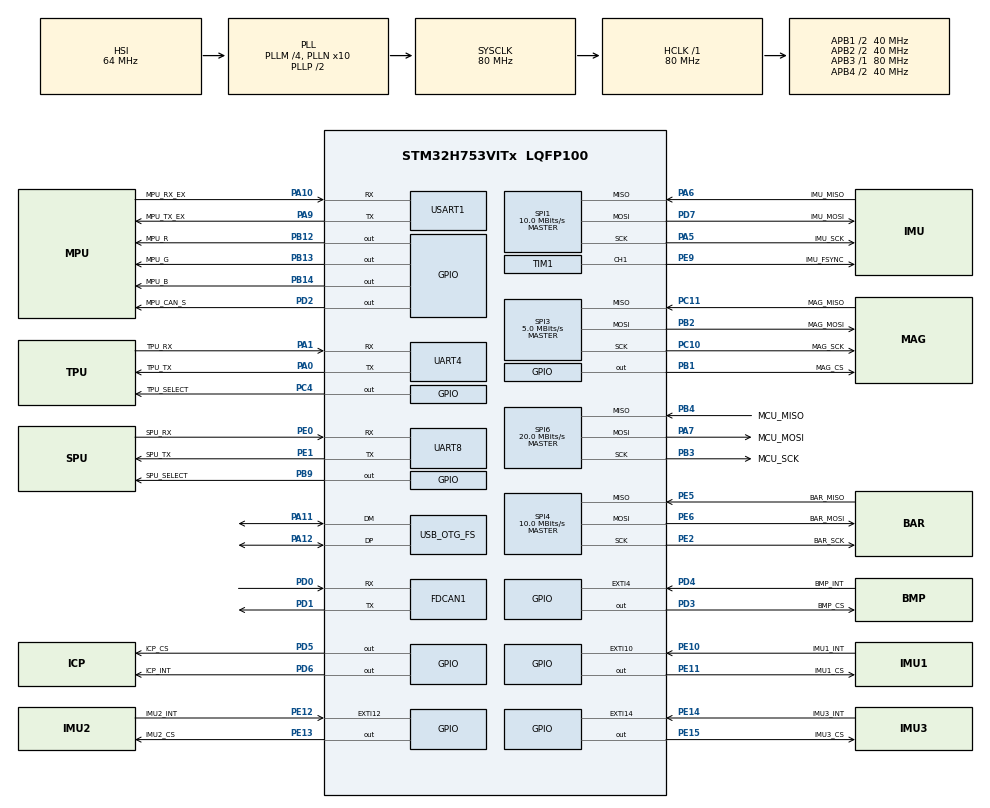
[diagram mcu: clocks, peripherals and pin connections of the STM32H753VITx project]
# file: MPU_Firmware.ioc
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CORTEX_M7.default_mode_Activation=1
FDCAN1.CalculateBaudRateNominal=833333
FDCAN1.CalculateTimeBitNominal=1200
FDCAN1.CalculateTimeQuantumNominal=400.0
FDCAN1.TxBuffersNbr=32
Mcu.Family=STM32H7
Mcu.Name=STM32H753VITx
Mcu.Package=LQFP100
NVIC.OTG_FS_IRQn=true\:0\:0\:false\:false\:true\:false\:true\:true
NVIC.PriorityGroup=NVIC_PRIORITYGROUP_4
NVIC.UART4_IRQn=true\:5\:0\:false\:false\:true\:true\:true\:true
NVIC.UART8_IRQn=true\:5\:0\:false\:false\:true\:true\:true\:true
PA0.GPIO_Label=TPU_TX
PA0.Mode=Asynchronous
PA0.Signal=UART4_TX
PA1.GPIO_Label=TPU_RX
PA1.Mode=Asynchronous
PA1.PinAttribute=Free
PA1.Signal=UART4_RX
PA10.GPIO_Label=MPU_RX_EX
PA10.Mode=Asynchronous
PA10.Signal=USART1_RX
PA11.Mode=Device_Only
PA11.PinAttribute=Free
PA11.Signal=USB_OTG_FS_DM
PA12.Mode=Device_Only
PA12.Signal=USB_OTG_FS_DP
PA5.GPIO_Label=IMU_SCK
PA5.Mode=Full_Duplex_Master
PA5.PinAttribute=Free
PA5.Signal=SPI1_SCK
PA6.GPIO_Label=IMU_MISO
PA6.Mode=Full_Duplex_Master
PA6.PinAttribute=Free
PA6.Signal=SPI1_MISO
PA7.GPIO_Label=MCU_MOSI
PA7.Mode=Full_Duplex_Master
PA7.PinAttribute=Free
PA7.Signal=SPI6_MOSI
PA9.GPIO_Label=MPU_TX_EX
PA9.Mode=Asynchronous
PA9.Signal=USART1_TX
PB1.GPIO_Label=MAG_CS
PB1.GPIO_Speed=GPIO_SPEED_FREQ_LOW
PB1.PinState=GPIO_PIN_SET
PB1.Signal=GPIO_Output
PB12.GPIO_Label=MPU_R
PB12.GPIO_ModeDefaultOutputPP=GPIO_MODE_OUTPUT_PP
PB12.GPIO_PuPd=GPIO_NOPULL
PB12.PinAttribute=Free
PB12.PinState=GPIO_PIN_RESET
PB12.Signal=GPIO_Output
PB13.GPIO_Label=MPU_G
PB13.GPIO_ModeDefaultOutputPP=GPIO_MODE_OUTPUT_PP
PB13.GPIO_PuPd=GPIO_NOPULL
PB13.PinAttribute=Free
PB13.PinState=GPIO_PIN_RESET
PB13.Signal=GPIO_Output
PB14.GPIO_Label=MPU_B
PB14.GPIO_ModeDefaultOutputPP=GPIO_MODE_OUTPUT_PP
PB14.GPIO_PuPd=GPIO_NOPULL
PB14.PinAttribute=Free
PB14.PinState=GPIO_PIN_RESET
PB14.Signal=GPIO_Output
PB2.GPIO_Label=MAG_MOSI
PB2.Mode=Full_Duplex_Master
PB2.Signal=SPI3_MOSI
PB3\ (JTDO/TRACESWO).GPIO_Label=MCU_SCK
PB3\ (JTDO/TRACESWO).Mode=Full_Duplex_Master
PB3\ (JTDO/TRACESWO).Signal=SPI6_SCK
PB4\ (NJTRST).GPIO_Label=MCU_MISO
PB4\ (NJTRST).Mode=Full_Duplex_Master
PB4\ (NJTRST).Signal=SPI6_MISO
PB9.GPIO_Label=SPU_SELECT
PB9.Signal=GPIO_Output
PC10.GPIO_Label=MAG_SCK
PC10.Mode=Full_Duplex_Master
PC10.Signal=SPI3_SCK
PC11.GPIO_Label=MAG_MISO
PC11.Mode=Full_Duplex_Master
PC11.Signal=SPI3_MISO
PC14-OSC32_IN\ (OSC32_IN).Mode=LSE-External-Oscillator
PC14-OSC32_IN\ (OSC32_IN).Signal=RCC_OSC32_IN
PC15-OSC32_OUT\ (OSC32_OUT).Mode=LSE-External-Oscillator
PC15-OSC32_OUT\ (OSC32_OUT).Signal=RCC_OSC32_OUT
PC4.GPIO_Label=TPU_SELECT
PC4.Signal=GPIO_Output
PD0.Mode=FDCAN_Activate
PD0.Signal=FDCAN1_RX
PD1.Mode=FDCAN_Activate
PD1.PinAttribute=Free
PD1.Signal=FDCAN1_TX
PD2.GPIO_Label=MPU_CAN_S
PD2.PinAttribute=Free
PD2.Signal=GPIO_Output
PD3.GPIO_Label=BMP_CS
PD3.PinAttribute=Free
PD3.PinState=GPIO_PIN_SET
PD3.Signal=GPIO_Output
PD4.GPIO_Label=BMP_INT
PD4.GPIO_ModeDefaultEXTI=GPIO_MODE_IT_RISING
PD4.PinAttribute=Free
PD4.Signal=GPXTI4
PD5.GPIO_Label=ICP_CS
PD5.PinAttribute=Free
PD5.PinState=GPIO_PIN_SET
PD5.Signal=GPIO_Output
PD6.GPIO_Label=ICP_INT
PD6.Signal=GPIO_Output
PD7.GPIO_Label=IMU_MOSI
PD7.Mode=Full_Duplex_Master
PD7.PinAttribute=Free
PD7.Signal=SPI1_MOSI
PE0.GPIO_Label=SPU_RX
PE0.Mode=Asynchronous
PE0.Signal=UART8_RX
PE1.GPIO_Label=SPU_TX
PE1.Mode=Asynchronous
PE1.Signal=UART8_TX
PE10.GPIO_Label=IMU1_INT
PE10.Signal=GPXTI10
PE11.GPIO_Label=IMU1_CS
PE11.GPIO_Speed=GPIO_SPEED_FREQ_LOW
PE11.PinAttribute=Free
PE11.PinState=GPIO_PIN_SET
PE11.Signal=GPIO_Output
PE12.GPIO_Label=IMU2_INT
PE12.Signal=GPXTI12
PE13.GPIO_Label=IMU2_CS
PE13.GPIO_Speed=GPIO_SPEED_FREQ_LOW
PE13.PinState=GPIO_PIN_SET
PE13.Signal=GPIO_Output
PE14.GPIO_Label=IMU3_INT
PE14.Signal=GPXTI14
PE15.GPIO_Label=IMU3_CS
PE15.GPIO_Speed=GPIO_SPEED_FREQ_LOW
PE15.PinState=GPIO_PIN_SET
PE15.Signal=GPIO_Output
PE2.GPIO_Label=BAR_SCK
PE2.Mode=Full_Duplex_Master
PE2.PinAttribute=Free
PE2.Signal=SPI4_SCK
PE5.GPIO_Label=BAR_MISO
PE5.Mode=Full_Duplex_Master
PE5.PinAttribute=Free
PE5.Signal=SPI4_MISO
PE6.GPIO_Label=BAR_MOSI
PE6.Mode=Full_Duplex_Master
PE6.PinAttribute=Free
PE6.Signal=SPI4_MOSI
PE9.GPIO_Label=IMU_FSYNC
PE9.Signal=S_TIM1_CH1
PH0-OSC_IN\ (PH0).Mode=HSE-External-Oscillator
PH0-OSC_IN\ (PH0).Signal=RCC_OSC_IN
PH1-OSC_OUT\ (PH1).Mode=HSE-External-Oscillator
PH1-OSC_OUT\ (PH1).Signal=RCC_OSC_OUT
ProjectManager.HeapSize=0x2000
ProjectManager.StackSize=0x6000
ProjectManager.TargetToolchain=Makefile
RCC.ADCFreq_Value=129000000
RCC.APB1Freq_Value=40000000
RCC.APB2Freq_Value=40000000
RCC.APB3Freq_Value=80000000
RCC.APB4Freq_Value=40000000
RCC.CodegenConfigPeriph=true
RCC.CortexFreq_Value=80000000
RCC.D2PPRE1=RCC_APB1_DIV2
RCC.D2PPRE2=RCC_APB2_DIV2
RCC.D3PPRE=RCC_APB4_DIV2
RCC.DATA_CACHE_ENABLE=1
RCC.DIVM1=4
RCC.DIVN1=10
RCC.DIVQ1=4
RCC.HCLKFreq_Value=80000000
RCC.HSE_VALUE=25000000
RCC.INSTRUCTION_CACHE_ENABLE=1
RCC.LSE_Drive_CapabilityArg=+LSE_Drive_Capability
RCC.PLL1_VCI_Range-AdvancedSettings=RCC_PLL1VCIRANGE_0
RCC.PLL2FRACN=0
RCC.PLL3FRACN=0
RCC.PLLFRACN=0
RCC.PLLSourceVirtual=RCC_PLLSOURCE_HSI
RCC.PREFETCH_ENABLE=0
RCC.SYSCLKFreq_VALUE=80000000
RCC.SYSCLKSource=RCC_SYSCLKSOURCE_PLLCLK
RCC.USBCLockSelection=RCC_USBCLKSOURCE_HSI48
RCC.USBFreq_Value=48000000
SH.S_TIM1_CH1.0=TIM1_CH1,PWM Generation1 CH1
SPI1.BaudRatePrescaler=SPI_BAUDRATEPRESCALER_4
SPI1.CLKPhase=SPI_PHASE_1EDGE
SPI1.CalculateBaudRate=10.0 MBits/s
SPI1.DataSize=SPI_DATASIZE_8BIT
SPI1.Direction=SPI_DIRECTION_2LINES
SPI1.Mode=SPI_MODE_MASTER
SPI1.VirtualType=VM_MASTER
SPI3.BaudRatePrescaler=SPI_BAUDRATEPRESCALER_8
SPI3.CLKPhase=SPI_PHASE_2EDGE
SPI3.CLKPolarity=SPI_POLARITY_HIGH
SPI3.CalculateBaudRate=5.0 MBits/s
SPI3.DataSize=SPI_DATASIZE_8BIT
SPI3.Direction=SPI_DIRECTION_2LINES
SPI3.MasterKeepIOState=SPI_MASTER_KEEP_IO_STATE_ENABLE
SPI3.Mode=SPI_MODE_MASTER
SPI3.VirtualType=VM_MASTER
SPI4.BaudRatePrescaler=SPI_BAUDRATEPRESCALER_4
SPI4.CalculateBaudRate=10.0 MBits/s
SPI4.DataSize=SPI_DATASIZE_8BIT
SPI4.Direction=SPI_DIRECTION_2LINES
SPI4.Mode=SPI_MODE_MASTER
SPI4.VirtualType=VM_MASTER
SPI6.CalculateBaudRate=20.0 MBits/s
SPI6.Direction=SPI_DIRECTION_2LINES
SPI6.Mode=SPI_MODE_MASTER
SPI6.VirtualType=VM_MASTER
TIM1.Channel-PWM\ Generation1\ CH1=TIM_CHANNEL_1
TIM2.Period=0xFFFFFFFF
UART4.VirtualMode-Asynchronous=VM_ASYNC
UART8.VirtualMode-Asynchronous=VM_ASYNC
USART1.VirtualMode-Asynchronous=VM_ASYNC
USB_DEVICE.CLASS_NAME_FS=CDC
USB_DEVICE.USBD_DEBUG_LEVEL-CDC_FS=3
USB_DEVICE.VirtualMode-CDC_FS=Cdc
USB_DEVICE.VirtualModeFS=Cdc_FS
USB_OTG_FS.VirtualMode=Device_Only
VP_MEMORYMAP_VS_MEMORYMAP.Mode=CurAppReg
VP_TIM1_VS_ClockSourceINT.Mode=Internal
VP_TIM2_VS_ClockSourceINT.Mode=Internal
VP_USB_DEVICE_VS_USB_DEVICE_CDC_FS.Mode=CDC_FS
board=custom

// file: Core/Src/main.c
/* USER CODE BEGIN Header */
/**
  ******************************************************************************
  * @file           : main.c
  * @brief          : Main program body
  ******************************************************************************
  * @attention
  *
  * Copyright (c) 2025 STMicroelectronics.
  * All rights reserved.
  *
  * This software is licensed under terms that can be found in the LICENSE file
  * in the root directory of this software component.
  * If no LICENSE file comes with this software, it is provided AS-IS.
  *
  ******************************************************************************
  */
/* USER CODE END Header */
#include "main.h"
#include "usb_device.h"

/* USER CODE BEGIN Includes */

#include "usbd_cdc_if.h"
#include "athena.h"
#include "driver_bmp388_basic.h"
// #include "driver_bmp388_shot.h"
#include "icp201xx_interface.h"
#include "imu_interface.h"
#include "lis2mdl.h"
#include "athena_link.h"
#include "fusion.h"
#include <string.h>

/* USER CODE END Includes */

/* USER CODE BEGIN PD */
#define __FPU_USED 1U
#define FSYNC_FREQUENCY_HZ 30000  // FSYNC frequency at 30kHz
#define IMU_RATE_HZ    400        // fusion predict rate (= IMU ODR)
#define STATE_RATE_HZ  20         // Athena_State frames sent to the TPU
#define MAG_POLL_HZ    200
#define BARO_POLL_HZ   100
#define LED_IDENTITY_MS 3000      // show the MCU identity colour this long after reset
/* USER CODE END PD */

FDCAN_HandleTypeDef hfdcan1;

SPI_HandleTypeDef hspi1;
SPI_HandleTypeDef hspi3;
SPI_HandleTypeDef hspi4;
SPI_HandleTypeDef hspi6;

TIM_HandleTypeDef htim1;
TIM_HandleTypeDef htim2;

UART_HandleTypeDef huart4;
UART_HandleTypeDef huart8;
UART_HandleTypeDef huart1;

/* USER CODE BEGIN PV */
static uint32_t dfu_boot_magic, dfu_boot_bkp;
static uint8_t  leds_off;                      // 'L' on the USB console: dark board (night, bench)
static uint32_t fault_rec[6];                 // crash record from the previous run (magic, pc, lr, cfsr, hfsr, bfar)
Athena_LED_PinConfig led_pins = {
      .port_r = MPU_R_GPIO_Port,
      .pin_r = MPU_R_Pin,
      .port_g = MPU_G_GPIO_Port,
      .pin_g = MPU_G_Pin,
      .port_b = MPU_B_GPIO_Port,
      .pin_b = MPU_B_Pin
  };

volatile uint8_t bmp388_data_ready = 0;  // Flag set by interrupt

static Link           tpu_link;                 // UART4 <-> TPU
static uint8_t        uart4_rx_byte;
static uint8_t        state_frame[sizeof(Athena_State) + LINK_OVERHEAD];
static uint8_t        uart_frame[sizeof(Athena_State) + LINK_OVERHEAD];   // owned by the UART4 IT transfer
static Fusion         fusion;
static Athena_State   state;
static Athena_GpsFix  last_gps;
static uint32_t       gps_count;
static ICP201xx_t     icp_device;
static uint8_t        imu_mask, mag_ok, icp_ok;
/* in-flight reference, saved once a second above 20 m into RAM the startup code never touches, so a reset in
 * flight resumes with the pad's baro reference and GPS origin instead of re-zeroing at the current altitude */
typedef struct { uint32_t magic; float baro_alt0; double lat0, lon0; float h0; uint32_t sum; } FlightRec;
#define FLIGHT_REC ((volatile FlightRec *)(DFU_MAGIC_ADDR + 0x40))
#define FLIGHT_MAGIC 0x464C5431UL
static uint32_t flight_sum(const FlightRec *r) { const uint32_t *w = (const uint32_t *)r; uint32_t s = 0x5A5A; for (unsigned i = 1; i < sizeof(FlightRec) / 4 - 1; i++) s = s * 31u + w[i]; return s; }
static uint8_t flight_restored;
static Link           spu_link;                 // UART8 <-> SPU: state frames out, SPU status in
static Link           usb_link;                 // USB console: command frames from the dashboard, 'B'/'J'
static uint8_t        uart8_rx_byte;
static uint8_t        uart8_frame[sizeof(Athena_State) + LINK_OVERHEAD];      // owned by the UART8 IT transfer (state -> SPU)
static uint8_t        fwd_tpu_frame[sizeof(Athena_SpuStatus) + LINK_OVERHEAD], fwd_tpu_pending[sizeof(Athena_SpuStatus) + LINK_OVERHEAD];
static uint8_t        fwd_spu_frame[sizeof(Athena_Cmd) + LINK_OVERHEAD], fwd_spu_pending[sizeof(Athena_Cmd) + LINK_OVERHEAD];
static uint8_t        fwd_tpu_len, fwd_spu_len; // bytes waiting in the *_pending buffers for a free UART
static uint8_t        spu_usb_frame[sizeof(Athena_SpuStatus) + LINK_OVERHEAD];
static Athena_SpuStatus spu;
static uint32_t       spu_ms, spu_count, cmd_count;
/* USER CODE END PV */

void SystemClock_Config(void);
static void MPU_Config(void);
static void MX_GPIO_Init(void);
static void MX_SPI1_Init(void);
static void MX_SPI3_Init(void);
static void MX_SPI4_Init(void);
static void MX_SPI6_Init(void);
static void MX_UART8_Init(void);
static void MX_UART4_Init(void);
static void MX_FDCAN1_Init(void);
static void MX_USART1_UART_Init(void);
static void MX_TIM2_Init(void);
static void MX_TIM1_Init(void);
/* USER CODE BEGIN PFP */
static void Athena_DfuPoll(void);
void Athena_DfuRequest(uint8_t c);
static void on_tpu_packet(uint8_t type, const uint8_t *payload, uint8_t len, void *user);
static void on_spu_packet(uint8_t type, const uint8_t *payload, uint8_t len, void *user);
static void on_usb_packet(uint8_t type, const uint8_t *payload, uint8_t len, void *user);
static void on_usb_text(uint8_t b, void *user);
static void forward_cmd(const uint8_t *payload, uint8_t len, const char *src);
void Athena_UsbRx(const uint8_t *buf, uint32_t len);
/* USER CODE END PFP */

int main(void)
{

  /* USER CODE BEGIN 1 */
  SCB->VTOR = FLASH_BASE;                                       /* after a DFU "leave" the ROM jumps here without a reset and VTOR still points at its own table */
  __DSB(); __ISB();
  dfu_boot_magic = *(volatile uint32_t *)DFU_MAGIC_ADDR;        /* printed later: tells whether the word survived the reset */
  DFU_BKP_ENABLE();
  dfu_boot_bkp = DFU_BKP_REG;
  if (dfu_boot_magic == DFU_MAGIC || dfu_boot_bkp == DFU_MAGIC) {   /* 'B' on the USB console asked for DFU */
    *(volatile uint32_t *)DFU_MAGIC_ADDR = 0;
    DFU_BKP_REG = 0;
    SysTick->CTRL = 0;
    SCB->VTOR = DFU_SYSMEM_ADDR;                                /* ROM vector table; interrupts stay enabled as after a real reset */
    __set_MSP(*(volatile uint32_t *)DFU_SYSMEM_ADDR);
    ((void (*)(void))(*(volatile uint32_t *)(DFU_SYSMEM_ADDR + 4)))();   /* never returns */
  }
  #if (__FPU_PRESENT == 1) && (__FPU_USED == 1)
    SCB->CPACR |= ((3UL << 10*2)|(3UL << 11*2));  /* set CP10 and CP11 Full Access */
  #endif
  { volatile uint32_t *r = (volatile uint32_t *)(DFU_MAGIC_ADDR + 0x10);   /* left by Athena_FaultSave() / Error_Handler() before their reset */
    if (r[0] == 0x46415554UL || r[0] == 0x4552524FUL) { for (int i = 0; i < 6; i++) fault_rec[i] = r[i]; r[0] = 0; } }
  /* USER CODE END 1 */

  /* MPU Configuration--------------------------------------------------------*/
  MPU_Config();

  /* MCU Configuration--------------------------------------------------------*/

  /* Reset of all peripherals, Initializes the Flash interface and the Systick. */
  HAL_Init();

  /* Configure the system clock */
  SystemClock_Config();

  /* USER CODE BEGIN SysInit */
  Athena_TimerConfig timer_cfg = {
    .htim = &htim2
  };
  Athena_Init(&led_pins, &timer_cfg);
  /* USER CODE END SysInit */

  /* Initialize all configured peripherals */
  MX_GPIO_Init();
  MX_SPI1_Init();
  MX_SPI3_Init();
  MX_SPI4_Init();
  MX_SPI6_Init();
  MX_UART8_Init();
  MX_UART4_Init();
  MX_FDCAN1_Init();
  MX_USART1_UART_Init();
  MX_USB_DEVICE_Init();
  MX_TIM2_Init();
  MX_TIM1_Init();
  /* USER CODE BEGIN 2 */
  Set_LED_Color(LED_GREEN);                   // identity colour: MPU = green (TPU red, SPU blue)
  HAL_TIM_Base_Start(&htim2);                 // 1 MHz free-running counter behind GetTimestamp()
  HAL_Delay(1000);                            // let USB CDC enumerate so the first prints are seen

  Link_Init(&tpu_link, on_tpu_packet, NULL);
  Link_Init(&spu_link, on_spu_packet, NULL);
  Link_Init(&usb_link, on_usb_packet, NULL);
  usb_link.on_text = on_usb_text;
  HAL_UART_Receive_IT(&huart4, &uart4_rx_byte, 1);
  HAL_UART_Receive_IT(&huart8, &uart8_rx_byte, 1);
  Fusion_Init(&fusion, NULL);
  { FlightRec r; r.magic = FLIGHT_REC->magic; r.baro_alt0 = FLIGHT_REC->baro_alt0; r.lat0 = FLIGHT_REC->lat0; r.lon0 = FLIGHT_REC->lon0; r.h0 = FLIGHT_REC->h0; r.sum = FLIGHT_REC->sum;
    FLIGHT_REC->magic = 0;
    if (r.magic == FLIGHT_MAGIC && r.sum == flight_sum(&r)) {        /* we were flying when the reset hit */
      fusion.baro_alt0 = r.baro_alt0; fusion.have_baro0 = 1;
      fusion.lat0 = r.lat0; fusion.lon0 = r.lon0; fusion.h0 = r.h0; fusion.have_origin = 1;
      fusion.in_flight = 1; flight_restored = 1;
    } }

  print("\r\n=== Athena MPU ===\r\n");
  print("dfu: boot magic sram=0x%08lX bkp=0x%08lX\r\n", (unsigned long)dfu_boot_magic, (unsigned long)dfu_boot_bkp);
  if (fault_rec[0]) print("%s before this reset: pc=0x%08lX lr=0x%08lX cfsr=0x%08lX hfsr=0x%08lX bfar=0x%08lX\r\n",
                          fault_rec[0] == 0x46415554UL ? "FAULT" : "ERROR_HANDLER", (unsigned long)fault_rec[1], (unsigned long)fault_rec[2],
                          (unsigned long)fault_rec[3], (unsigned long)fault_rec[4], (unsigned long)fault_rec[5]);
  imu_mask = IMU_Init();
  print("IMU mask 0x%X (bit n = IMU n+1 alive)\r\n", imu_mask);
  if (flight_restored) print("fusion: in-flight reference restored after a reset (pad baro %.1f m, origin %.5f %.5f)\r\n", fusion.baro_alt0, fusion.lat0, fusion.lon0);
  mag_ok = (LIS2MDL_Init() == 0);
  print("LIS2MDL %s\r\n", mag_ok ? "ok" : "FAILED");
  ICP201xx_init_spi(&icp_device);
  icp_ok = (ICP201xx_begin(&icp_device) == 0) && (ICP201xx_start(&icp_device) == 0);
  print("ICP-20100 %s\r\n", icp_ok ? "ok" : "FAILED");
  // ponytail: BMP388 left out, its libdriver blocks for seconds; ICP is the primary baro.
  //           Add it as a second Fusion_Baro() call once a non-blocking read exists.
  uint32_t last_imu_us = GetTimestamp(), last_mag_us = 0, last_baro_us = 0;
  uint32_t last_state_us = 0, last_print_us = 0, last_hz_us = 0, loops = 0;
  uint16_t loop_hz = 0;
  /* USER CODE END 2 */

  /* Infinite loop */
  /* USER CODE BEGIN WHILE */
  while (1)
  {
    uint32_t now = GetTimestamp();
    Athena_DfuPoll();

    /* 1. IMUs: vote the three units, convert to SI, run attitude + dead-reckoning predict */
    if ((now - last_imu_us) >= (1000000u / IMU_RATE_HZ)) {
      float dt = (float)(now - last_imu_us) * 1e-6f;
      last_imu_us = now;
      IMU_Data d;
      if (IMU_ReadFused(imu_mask, &d)) {
        float acc[3], gyr[3];
        for (int i = 0; i < 3; i++) { acc[i] = d.accel_g[i] * 9.80665f; gyr[i] = d.gyro_dps[i] * 0.017453292f; }
        Fusion_Imu(&fusion, acc, gyr, dt, now);
        loops++;
      }
    }

    /* 2. magnetometer: yaw reference for the attitude filter */
    if (mag_ok && (now - last_mag_us) >= (1000000u / MAG_POLL_HZ)) {
      last_mag_us = now;
      float m[3];
      if (LIS2MDL_Read(m) == 0) Fusion_Mag(&fusion, m, now);
    }

    /* 3. barometer: altitude measurement for the Down axis */
    if (icp_ok && (now - last_baro_us) >= (1000000u / BARO_POLL_HZ)) {
      last_baro_us = now;
      float p_kpa, t_c;
      if (ICP201xx_getData(&icp_device, &p_kpa, &t_c) == 0) Fusion_Baro(&fusion, p_kpa * 1000.f, now);
    }

    /* 4. GPS fixes and commands relayed by the TPU (on_tpu_packet), SPU status (on_spu_packet), USB console */
    Link_Process(&tpu_link);
    Link_Process(&spu_link);
    Link_Process(&usb_link);
    /* 4b. relay: SPU status -> TPU over UART4, commands -> SPU over UART8, as soon as the UART is free */
    if (fwd_tpu_len && huart4.gState == HAL_UART_STATE_READY) {
      memcpy(fwd_tpu_frame, fwd_tpu_pending, fwd_tpu_len);
      HAL_UART_Transmit_IT(&huart4, fwd_tpu_frame, fwd_tpu_len); fwd_tpu_len = 0;
    }
    if (fwd_spu_len && huart8.gState == HAL_UART_STATE_READY) {
      memcpy(fwd_spu_frame, fwd_spu_pending, fwd_spu_len);
      HAL_UART_Transmit_IT(&huart8, fwd_spu_frame, fwd_spu_len); fwd_spu_len = 0;
    }

    /* 5. publish the navigation state to the TPU */
    if ((now - last_state_us) >= (1000000u / STATE_RATE_HZ)) {
      last_state_us = now;
      if ((now - last_hz_us) >= 1000000u) { loop_hz = (uint16_t)loops; loops = 0; last_hz_us = now; }
      Fusion_GetState(&fusion, &state, imu_mask, loop_hz);
      size_t n = Link_Encode(state_frame, LINK_PKT_STATE, &state, sizeof state);
      CDC_Transmit_FS(state_frame, (uint16_t)n);               // same frame to the USB dashboard (dropped if busy)
      if (huart4.gState == HAL_UART_STATE_READY) {
        memcpy(uart_frame, state_frame, n);
        HAL_UART_Transmit_IT(&huart4, uart_frame, (uint16_t)n);
      }
      if (huart8.gState == HAL_UART_STATE_READY) {             // the SPU runs its recovery logic on the same frames
        memcpy(uart8_frame, state_frame, n);
        HAL_UART_Transmit_IT(&huart8, uart8_frame, (uint16_t)n);
      }
    }

    /* 6. human-readable status over USB (+ the in-flight reference snapshot, once a second) */
    if ((now - last_print_us) >= 200000u) {
      last_print_us = now;
      static uint8_t snap_div;
      if (fusion.in_flight && spu.phase != SPU_PHASE_LANDED && -state.pos_ned[2] > 20.f && ++snap_div >= 5) {
        snap_div = 0;
        FlightRec r = { FLIGHT_MAGIC, fusion.baro_alt0, fusion.lat0, fusion.lon0, fusion.h0, 0 }; r.sum = flight_sum(&r);
        FLIGHT_REC->baro_alt0 = r.baro_alt0; FLIGHT_REC->lat0 = r.lat0; FLIGHT_REC->lon0 = r.lon0; FLIGHT_REC->h0 = r.h0; FLIGHT_REC->sum = r.sum; FLIGHT_REC->magic = r.magic;
      }
      float roll, pitch, yaw;
      Fusion_QuatToEuler(state.q, &roll, &pitch, &yaw);
      print("alt %7.1f m  vD %6.1f m/s  baro %7.1f m | rpy %6.1f %6.1f %6.1f | imu 0x%X %u Hz | gps %s n=%lu rx_bad=%lu | %s | spu %s ph=%u fl=0x%02X vbat=%u | boot=%08lX/%08lX\r\n",
            -state.pos_ned[2], state.vel_ned[2], state.baro_alt,
            roll * 57.2958f, pitch * 57.2958f, yaw * 57.2958f,
            state.imu_mask, state.loop_hz,
            (state.flags & STATE_FLAG_GPS_FRESH) ? "fresh" : "DR", (unsigned long)gps_count, (unsigned long)tpu_link.rx_bad,
            (state.flags & STATE_FLAG_IN_FLIGHT) ? "FLIGHT" : "pad",
            (spu_count && HAL_GetTick() - spu_ms < 2000u) ? "ok" : "LOST", spu.phase, spu.flags, spu.vbat_mv, (unsigned long)dfu_boot_magic, (unsigned long)dfu_boot_bkp);
      if (leds_off)                                 Set_LED_Color(LED_OFF);
      else if (HAL_GetTick() < LED_IDENTITY_MS)     { /* keep showing the identity colour */ }
      else if (state.flags & STATE_FLAG_IN_FLIGHT) Set_LED_Color(LED_MAGENTA);
      else if (!imu_mask)                          Set_LED_Color(LED_RED);
      else if (imu_mask == 0x7 && mag_ok && icp_ok && (state.flags & STATE_FLAG_GPS_FRESH)) Set_LED_Color(LED_GREEN);
      else                                         Set_LED_Color(LED_YELLOW);
    }
    /* USER CODE END WHILE */

  }
}

void SystemClock_Config(void)
{
  RCC_OscInitTypeDef RCC_OscInitStruct = {0};
  RCC_ClkInitTypeDef RCC_ClkInitStruct = {0};

  /** Supply configuration update enable
  */
  HAL_PWREx_ConfigSupply(PWR_LDO_SUPPLY);

  /** Configure the main internal regulator output voltage
  */
  __HAL_PWR_VOLTAGESCALING_CONFIG(PWR_REGULATOR_VOLTAGE_SCALE3);

  while(!__HAL_PWR_GET_FLAG(PWR_FLAG_VOSRDY)) {}

  /** Initializes the RCC Oscillators according to the specified parameters
  * in the RCC_OscInitTypeDef structure.
  */
  RCC_OscInitStruct.OscillatorType = RCC_OSCILLATORTYPE_HSI48|RCC_OSCILLATORTYPE_HSI;
  RCC_OscInitStruct.HSIState = RCC_HSI_DIV1;
  RCC_OscInitStruct.HSICalibrationValue = RCC_HSICALIBRATION_DEFAULT;
  RCC_OscInitStruct.HSI48State = RCC_HSI48_ON;
  RCC_OscInitStruct.PLL.PLLState = RCC_PLL_ON;
  RCC_OscInitStruct.PLL.PLLSource = RCC_PLLSOURCE_HSI;
  RCC_OscInitStruct.PLL.PLLM = 4;
  RCC_OscInitStruct.PLL.PLLN = 10;
  RCC_OscInitStruct.PLL.PLLP = 2;
  RCC_OscInitStruct.PLL.PLLQ = 4;
  RCC_OscInitStruct.PLL.PLLR = 2;
  RCC_OscInitStruct.PLL.PLLRGE = RCC_PLL1VCIRANGE_3;
  RCC_OscInitStruct.PLL.PLLVCOSEL = RCC_PLL1VCOMEDIUM;
  RCC_OscInitStruct.PLL.PLLFRACN = 0;
  if (HAL_RCC_OscConfig(&RCC_OscInitStruct) != HAL_OK)
  {
    Error_Handler();
  }

  /** Initializes the CPU, AHB and APB buses clocks
  */
  RCC_ClkInitStruct.ClockType = RCC_CLOCKTYPE_HCLK|RCC_CLOCKTYPE_SYSCLK
                              |RCC_CLOCKTYPE_PCLK1|RCC_CLOCKTYPE_PCLK2
                              |RCC_CLOCKTYPE_D3PCLK1|RCC_CLOCKTYPE_D1PCLK1;
  RCC_ClkInitStruct.SYSCLKSource = RCC_SYSCLKSOURCE_PLLCLK;
  RCC_ClkInitStruct.SYSCLKDivider = RCC_SYSCLK_DIV1;
  RCC_ClkInitStruct.AHBCLKDivider = RCC_HCLK_DIV1;
  RCC_ClkInitStruct.APB3CLKDivider = RCC_APB3_DIV1;
  RCC_ClkInitStruct.APB1CLKDivider = RCC_APB1_DIV2;
  RCC_ClkInitStruct.APB2CLKDivider = RCC_APB2_DIV2;
  RCC_ClkInitStruct.APB4CLKDivider = RCC_APB4_DIV2;

  if (HAL_RCC_ClockConfig(&RCC_ClkInitStruct, FLASH_LATENCY_1) != HAL_OK)
  {
    Error_Handler();
  }
}

static void MX_FDCAN1_Init(void)
{

  hfdcan1.Instance = FDCAN1;
  hfdcan1.Init.FrameFormat = FDCAN_FRAME_CLASSIC;
  hfdcan1.Init.Mode = FDCAN_MODE_NORMAL;
  hfdcan1.Init.AutoRetransmission = DISABLE;
  hfdcan1.Init.TransmitPause = DISABLE;
  hfdcan1.Init.ProtocolException = DISABLE;
  hfdcan1.Init.NominalPrescaler = 16;
  hfdcan1.Init.NominalSyncJumpWidth = 1;
  hfdcan1.Init.NominalTimeSeg1 = 1;
  hfdcan1.Init.NominalTimeSeg2 = 1;
  hfdcan1.Init.DataPrescaler = 1;
  hfdcan1.Init.DataSyncJumpWidth = 1;
  hfdcan1.Init.DataTimeSeg1 = 1;
  hfdcan1.Init.DataTimeSeg2 = 1;
  hfdcan1.Init.MessageRAMOffset = 0;
  hfdcan1.Init.StdFiltersNbr = 0;
  hfdcan1.Init.ExtFiltersNbr = 0;
  hfdcan1.Init.RxFifo0ElmtsNbr = 0;
  hfdcan1.Init.RxFifo0ElmtSize = FDCAN_DATA_BYTES_8;
  hfdcan1.Init.RxFifo1ElmtsNbr = 0;
  hfdcan1.Init.RxFifo1ElmtSize = FDCAN_DATA_BYTES_8;
  hfdcan1.Init.RxBuffersNbr = 0;
  hfdcan1.Init.RxBufferSize = FDCAN_DATA_BYTES_8;
  hfdcan1.Init.TxEventsNbr = 0;
  hfdcan1.Init.TxBuffersNbr = 32;
  hfdcan1.Init.TxFifoQueueElmtsNbr = 0;
  hfdcan1.Init.TxFifoQueueMode = FDCAN_TX_FIFO_OPERATION;
  hfdcan1.Init.TxElmtSize = FDCAN_DATA_BYTES_8;
  if (HAL_FDCAN_Init(&hfdcan1) != HAL_OK)
  {
    Error_Handler();
  }

}

static void MX_SPI1_Init(void)
{

  /* SPI1 parameter configuration*/
  hspi1.Instance = SPI1;
  hspi1.Init.Mode = SPI_MODE_MASTER;
  hspi1.Init.Direction = SPI_DIRECTION_2LINES;
  hspi1.Init.DataSize = SPI_DATASIZE_8BIT;
  hspi1.Init.CLKPolarity = SPI_POLARITY_LOW;
  hspi1.Init.CLKPhase = SPI_PHASE_1EDGE;
  hspi1.Init.NSS = SPI_NSS_SOFT;
  hspi1.Init.BaudRatePrescaler = SPI_BAUDRATEPRESCALER_4;
  hspi1.Init.FirstBit = SPI_FIRSTBIT_MSB;
  hspi1.Init.TIMode = SPI_TIMODE_DISABLE;
  hspi1.Init.CRCCalculation = SPI_CRCCALCULATION_DISABLE;
  hspi1.Init.CRCPolynomial = 0x0;
  hspi1.Init.NSSPMode = SPI_NSS_PULSE_ENABLE;
  hspi1.Init.NSSPolarity = SPI_NSS_POLARITY_LOW;
  hspi1.Init.FifoThreshold = SPI_FIFO_THRESHOLD_01DATA;
  hspi1.Init.TxCRCInitializationPattern = SPI_CRC_INITIALIZATION_ALL_ZERO_PATTERN;
  hspi1.Init.RxCRCInitializationPattern = SPI_CRC_INITIALIZATION_ALL_ZERO_PATTERN;
  hspi1.Init.MasterSSIdleness = SPI_MASTER_SS_IDLENESS_00CYCLE;
  hspi1.Init.MasterInterDataIdleness = SPI_MASTER_INTERDATA_IDLENESS_00CYCLE;
  hspi1.Init.MasterReceiverAutoSusp = SPI_MASTER_RX_AUTOSUSP_DISABLE;
  hspi1.Init.MasterKeepIOState = SPI_MASTER_KEEP_IO_STATE_DISABLE;
  hspi1.Init.IOSwap = SPI_IO_SWAP_DISABLE;
  if (HAL_SPI_Init(&hspi1) != HAL_OK)
  {
    Error_Handler();
  }

}

static void MX_SPI3_Init(void)
{

  /* SPI3 parameter configuration*/
  hspi3.Instance = SPI3;
  hspi3.Init.Mode = SPI_MODE_MASTER;
  hspi3.Init.Direction = SPI_DIRECTION_2LINES;
  hspi3.Init.DataSize = SPI_DATASIZE_8BIT;
  hspi3.Init.CLKPolarity = SPI_POLARITY_HIGH;
  hspi3.Init.CLKPhase = SPI_PHASE_2EDGE;
  hspi3.Init.NSS = SPI_NSS_SOFT;
  hspi3.Init.BaudRatePrescaler = SPI_BAUDRATEPRESCALER_8;
  hspi3.Init.FirstBit = SPI_FIRSTBIT_MSB;
  hspi3.Init.TIMode = SPI_TIMODE_DISABLE;
  hspi3.Init.CRCCalculation = SPI_CRCCALCULATION_DISABLE;
  hspi3.Init.CRCPolynomial = 0x0;
  hspi3.Init.NSSPMode = SPI_NSS_PULSE_ENABLE;
  hspi3.Init.NSSPolarity = SPI_NSS_POLARITY_LOW;
  hspi3.Init.FifoThreshold = SPI_FIFO_THRESHOLD_01DATA;
  hspi3.Init.TxCRCInitializationPattern = SPI_CRC_INITIALIZATION_ALL_ZERO_PATTERN;
  hspi3.Init.RxCRCInitializationPattern = SPI_CRC_INITIALIZATION_ALL_ZERO_PATTERN;
  hspi3.Init.MasterSSIdleness = SPI_MASTER_SS_IDLENESS_00CYCLE;
  hspi3.Init.MasterInterDataIdleness = SPI_MASTER_INTERDATA_IDLENESS_00CYCLE;
  hspi3.Init.MasterReceiverAutoSusp = SPI_MASTER_RX_AUTOSUSP_DISABLE;
  hspi3.Init.MasterKeepIOState = SPI_MASTER_KEEP_IO_STATE_ENABLE;
  hspi3.Init.IOSwap = SPI_IO_SWAP_DISABLE;
  if (HAL_SPI_Init(&hspi3) != HAL_OK)
  {
    Error_Handler();
  }

}

static void MX_SPI4_Init(void)
{

  /* SPI4 parameter configuration*/
  hspi4.Instance = SPI4;
  hspi4.Init.Mode = SPI_MODE_MASTER;
  hspi4.Init.Direction = SPI_DIRECTION_2LINES;
  hspi4.Init.DataSize = SPI_DATASIZE_8BIT;
  hspi4.Init.CLKPolarity = SPI_POLARITY_LOW;
  hspi4.Init.CLKPhase = SPI_PHASE_1EDGE;
  hspi4.Init.NSS = SPI_NSS_SOFT;
  hspi4.Init.BaudRatePrescaler = SPI_BAUDRATEPRESCALER_4;
  hspi4.Init.FirstBit = SPI_FIRSTBIT_MSB;
  hspi4.Init.TIMode = SPI_TIMODE_DISABLE;
  hspi4.Init.CRCCalculation = SPI_CRCCALCULATION_DISABLE;
  hspi4.Init.CRCPolynomial = 0x0;
  hspi4.Init.NSSPMode = SPI_NSS_PULSE_ENABLE;
  hspi4.Init.NSSPolarity = SPI_NSS_POLARITY_LOW;
  hspi4.Init.FifoThreshold = SPI_FIFO_THRESHOLD_01DATA;
  hspi4.Init.TxCRCInitializationPattern = SPI_CRC_INITIALIZATION_ALL_ZERO_PATTERN;
  hspi4.Init.RxCRCInitializationPattern = SPI_CRC_INITIALIZATION_ALL_ZERO_PATTERN;
  hspi4.Init.MasterSSIdleness = SPI_MASTER_SS_IDLENESS_00CYCLE;
  hspi4.Init.MasterInterDataIdleness = SPI_MASTER_INTERDATA_IDLENESS_00CYCLE;
  hspi4.Init.MasterReceiverAutoSusp = SPI_MASTER_RX_AUTOSUSP_DISABLE;
  hspi4.Init.MasterKeepIOState = SPI_MASTER_KEEP_IO_STATE_DISABLE;
  hspi4.Init.IOSwap = SPI_IO_SWAP_DISABLE;
  if (HAL_SPI_Init(&hspi4) != HAL_OK)
  {
    Error_Handler();
  }

}

static void MX_SPI6_Init(void)
{

  /* SPI6 parameter configuration*/
  hspi6.Instance = SPI6;
  hspi6.Init.Mode = SPI_MODE_MASTER;
  hspi6.Init.Direction = SPI_DIRECTION_2LINES;
  hspi6.Init.DataSize = SPI_DATASIZE_4BIT;
  hspi6.Init.CLKPolarity = SPI_POLARITY_LOW;
  hspi6.Init.CLKPhase = SPI_PHASE_1EDGE;
  hspi6.Init.NSS = SPI_NSS_SOFT;
  hspi6.Init.BaudRatePrescaler = SPI_BAUDRATEPRESCALER_2;
  hspi6.Init.FirstBit = SPI_FIRSTBIT_MSB;
  hspi6.Init.TIMode = SPI_TIMODE_DISABLE;
  hspi6.Init.CRCCalculation = SPI_CRCCALCULATION_DISABLE;
  hspi6.Init.CRCPolynomial = 0x0;
  hspi6.Init.NSSPMode = SPI_NSS_PULSE_ENABLE;
  hspi6.Init.NSSPolarity = SPI_NSS_POLARITY_LOW;
  hspi6.Init.FifoThreshold = SPI_FIFO_THRESHOLD_01DATA;
  hspi6.Init.TxCRCInitializationPattern = SPI_CRC_INITIALIZATION_ALL_ZERO_PATTERN;
  hspi6.Init.RxCRCInitializationPattern = SPI_CRC_INITIALIZATION_ALL_ZERO_PATTERN;
  hspi6.Init.MasterSSIdleness = SPI_MASTER_SS_IDLENESS_00CYCLE;
  hspi6.Init.MasterInterDataIdleness = SPI_MASTER_INTERDATA_IDLENESS_00CYCLE;
  hspi6.Init.MasterReceiverAutoSusp = SPI_MASTER_RX_AUTOSUSP_DISABLE;
  hspi6.Init.MasterKeepIOState = SPI_MASTER_KEEP_IO_STATE_DISABLE;
  hspi6.Init.IOSwap = SPI_IO_SWAP_DISABLE;
  if (HAL_SPI_Init(&hspi6) != HAL_OK)
  {
    Error_Handler();
  }

}

static void MX_TIM1_Init(void)
{

  TIM_ClockConfigTypeDef sClockSourceConfig = {0};
  TIM_MasterConfigTypeDef sMasterConfig = {0};
  TIM_OC_InitTypeDef sConfigOC = {0};
  TIM_BreakDeadTimeConfigTypeDef sBreakDeadTimeConfig = {0};

  htim1.Instance = TIM1;
  htim1.Init.Prescaler = 0;
  htim1.Init.CounterMode = TIM_COUNTERMODE_UP;
  htim1.Init.Period = 65535;
  htim1.Init.ClockDivision = TIM_CLOCKDIVISION_DIV1;
  htim1.Init.RepetitionCounter = 0;
  htim1.Init.AutoReloadPreload = TIM_AUTORELOAD_PRELOAD_DISABLE;
  if (HAL_TIM_Base_Init(&htim1) != HAL_OK)
  {
    Error_Handler();
  }
  sClockSourceConfig.ClockSource = TIM_CLOCKSOURCE_INTERNAL;
  if (HAL_TIM_ConfigClockSource(&htim1, &sClockSourceConfig) != HAL_OK)
  {
    Error_Handler();
  }
  if (HAL_TIM_PWM_Init(&htim1) != HAL_OK)
  {
    Error_Handler();
  }
  sMasterConfig.MasterOutputTrigger = TIM_TRGO_RESET;
  sMasterConfig.MasterOutputTrigger2 = TIM_TRGO2_RESET;
  sMasterConfig.MasterSlaveMode = TIM_MASTERSLAVEMODE_DISABLE;
  if (HAL_TIMEx_MasterConfigSynchronization(&htim1, &sMasterConfig) != HAL_OK)
  {
    Error_Handler();
  }
  sConfigOC.OCMode = TIM_OCMODE_PWM1;
  sConfigOC.Pulse = 0;
  sConfigOC.OCPolarity = TIM_OCPOLARITY_HIGH;
  sConfigOC.OCNPolarity = TIM_OCNPOLARITY_HIGH;
  sConfigOC.OCFastMode = TIM_OCFAST_DISABLE;
  sConfigOC.OCIdleState = TIM_OCIDLESTATE_RESET;
  sConfigOC.OCNIdleState = TIM_OCNIDLESTATE_RESET;
  if (HAL_TIM_PWM_ConfigChannel(&htim1, &sConfigOC, TIM_CHANNEL_1) != HAL_OK)
  {
    Error_Handler();
  }
  sBreakDeadTimeConfig.OffStateRunMode = TIM_OSSR_DISABLE;
  sBreakDeadTimeConfig.OffStateIDLEMode = TIM_OSSI_DISABLE;
  sBreakDeadTimeConfig.LockLevel = TIM_LOCKLEVEL_OFF;
  sBreakDeadTimeConfig.DeadTime = 0;
  sBreakDeadTimeConfig.BreakState = TIM_BREAK_DISABLE;
  sBreakDeadTimeConfig.BreakPolarity = TIM_BREAKPOLARITY_HIGH;
  sBreakDeadTimeConfig.BreakFilter = 0;
  sBreakDeadTimeConfig.Break2State = TIM_BREAK2_DISABLE;
  sBreakDeadTimeConfig.Break2Polarity = TIM_BREAK2POLARITY_HIGH;
  sBreakDeadTimeConfig.Break2Filter = 0;
  sBreakDeadTimeConfig.AutomaticOutput = TIM_AUTOMATICOUTPUT_DISABLE;
  if (HAL_TIMEx_ConfigBreakDeadTime(&htim1, &sBreakDeadTimeConfig) != HAL_OK)
  {
    Error_Handler();
  }
  HAL_TIM_MspPostInit(&htim1);

}

static void MX_TIM2_Init(void)
{

  TIM_ClockConfigTypeDef sClockSourceConfig = {0};
  TIM_MasterConfigTypeDef sMasterConfig = {0};

  htim2.Instance = TIM2;
  htim2.Init.Prescaler = 0;
  htim2.Init.CounterMode = TIM_COUNTERMODE_UP;
  htim2.Init.Period = 0xFFFFFFFF;
  htim2.Init.ClockDivision = TIM_CLOCKDIVISION_DIV1;
  htim2.Init.AutoReloadPreload = TIM_AUTORELOAD_PRELOAD_DISABLE;
  if (HAL_TIM_Base_Init(&htim2) != HAL_OK)
  {
    Error_Handler();
  }
  sClockSourceConfig.ClockSource = TIM_CLOCKSOURCE_INTERNAL;
  if (HAL_TIM_ConfigClockSource(&htim2, &sClockSourceConfig) != HAL_OK)
  {
    Error_Handler();
  }
  sMasterConfig.MasterOutputTrigger = TIM_TRGO_RESET;
  sMasterConfig.MasterSlaveMode = TIM_MASTERSLAVEMODE_DISABLE;
  if (HAL_TIMEx_MasterConfigSynchronization(&htim2, &sMasterConfig) != HAL_OK)
  {
    Error_Handler();
  }
  /* USER CODE BEGIN TIM2_Init 2 */
 uint32_t tim_clk = HAL_RCC_GetPCLK1Freq();

// APB1 timer kernel clock (RM0433 8.5.8, TIMPRE = 0): equal to PCLK1 when the APB1
// prescaler is 1 (D2PPRE1 = 0xx), twice PCLK1 for any division (D2PPRE1 = 1xx, i.e. >= 4).
// This project runs APB1 at /2 (value 4), so the test must be ">= 4", not "> 4".
uint32_t ppre = (RCC->D2CFGR & RCC_D2CFGR_D2PPRE1) >> RCC_D2CFGR_D2PPRE1_Pos;
if (ppre >= 4) tim_clk *= 2;

// 1 MHz tick (1 us resolution, wraps every 71 min) so GetTimestamp() returns microseconds
htim2.Init.Prescaler = (tim_clk / 1000000) - 1;
htim2.Init.Period    = 0xFFFFFFFF;

HAL_TIM_Base_Init(&htim2);   // <- THIS IS NOW SAFE
HAL_TIM_Base_Start(&htim2);
  /* USER CODE END TIM2_Init 2 */

}

static void MX_UART4_Init(void)
{

  huart4.Instance = UART4;
  huart4.Init.BaudRate = 115200;
  huart4.Init.WordLength = UART_WORDLENGTH_8B;
  huart4.Init.StopBits = UART_STOPBITS_1;
  huart4.Init.Parity = UART_PARITY_NONE;
  huart4.Init.Mode = UART_MODE_TX_RX;
  huart4.Init.HwFlowCtl = UART_HWCONTROL_NONE;
  huart4.Init.OverSampling = UART_OVERSAMPLING_16;
  huart4.Init.OneBitSampling = UART_ONE_BIT_SAMPLE_DISABLE;
  huart4.Init.ClockPrescaler = UART_PRESCALER_DIV1;
  huart4.AdvancedInit.AdvFeatureInit = UART_ADVFEATURE_NO_INIT;
  if (HAL_UART_Init(&huart4) != HAL_OK)
  {
    Error_Handler();
  }
  if (HAL_UARTEx_SetTxFifoThreshold(&huart4, UART_TXFIFO_THRESHOLD_1_8) != HAL_OK)
  {
    Error_Handler();
  }
  if (HAL_UARTEx_SetRxFifoThreshold(&huart4, UART_RXFIFO_THRESHOLD_1_8) != HAL_OK)
  {
    Error_Handler();
  }
  if (HAL_UARTEx_DisableFifoMode(&huart4) != HAL_OK)
  {
    Error_Handler();
  }

}

static void MX_UART8_Init(void)
{

  huart8.Instance = UART8;
  huart8.Init.BaudRate = 115200;
  huart8.Init.WordLength = UART_WORDLENGTH_8B;
  huart8.Init.StopBits = UART_STOPBITS_1;
  huart8.Init.Parity = UART_PARITY_NONE;
  huart8.Init.Mode = UART_MODE_TX_RX;
  huart8.Init.HwFlowCtl = UART_HWCONTROL_NONE;
  huart8.Init.OverSampling = UART_OVERSAMPLING_16;
  huart8.Init.OneBitSampling = UART_ONE_BIT_SAMPLE_DISABLE;
  huart8.Init.ClockPrescaler = UART_PRESCALER_DIV1;
  huart8.AdvancedInit.AdvFeatureInit = UART_ADVFEATURE_NO_INIT;
  if (HAL_UART_Init(&huart8) != HAL_OK)
  {
    Error_Handler();
  }
  if (HAL_UARTEx_SetTxFifoThreshold(&huart8, UART_TXFIFO_THRESHOLD_1_8) != HAL_OK)
  {
    Error_Handler();
  }
  if (HAL_UARTEx_SetRxFifoThreshold(&huart8, UART_RXFIFO_THRESHOLD_1_8) != HAL_OK)
  {
    Error_Handler();
  }
  if (HAL_UARTEx_DisableFifoMode(&huart8) != HAL_OK)
  {
    Error_Handler();
  }

}

static void MX_USART1_UART_Init(void)
{

  huart1.Instance = USART1;
  huart1.Init.BaudRate = 115200;
  huart1.Init.WordLength = UART_WORDLENGTH_8B;
  huart1.Init.StopBits = UART_STOPBITS_1;
  huart1.Init.Parity = UART_PARITY_NONE;
  huart1.Init.Mode = UART_MODE_TX_RX;
  huart1.Init.HwFlowCtl = UART_HWCONTROL_NONE;
  huart1.Init.OverSampling = UART_OVERSAMPLING_16;
  huart1.Init.OneBitSampling = UART_ONE_BIT_SAMPLE_DISABLE;
  huart1.Init.ClockPrescaler = UART_PRESCALER_DIV1;
  huart1.AdvancedInit.AdvFeatureInit = UART_ADVFEATURE_NO_INIT;
  if (HAL_UART_Init(&huart1) != HAL_OK)
  {
    Error_Handler();
  }
  if (HAL_UARTEx_SetTxFifoThreshold(&huart1, UART_TXFIFO_THRESHOLD_1_8) != HAL_OK)
  {
    Error_Handler();
  }
  if (HAL_UARTEx_SetRxFifoThreshold(&huart1, UART_RXFIFO_THRESHOLD_1_8) != HAL_OK)
  {
    Error_Handler();
  }
  if (HAL_UARTEx_DisableFifoMode(&huart1) != HAL_OK)
  {
    Error_Handler();
  }

}

static void MX_GPIO_Init(void)
{
  GPIO_InitTypeDef GPIO_InitStruct = {0};

  /* GPIO Ports Clock Enable */
  __HAL_RCC_GPIOE_CLK_ENABLE();
  __HAL_RCC_GPIOC_CLK_ENABLE();
  __HAL_RCC_GPIOH_CLK_ENABLE();
  __HAL_RCC_GPIOA_CLK_ENABLE();
  __HAL_RCC_GPIOB_CLK_ENABLE();
  __HAL_RCC_GPIOD_CLK_ENABLE();

  /*Configure GPIO pin Output Level */
  HAL_GPIO_WritePin(TPU_SELECT_GPIO_Port, TPU_SELECT_Pin, GPIO_PIN_RESET);

  /*Configure GPIO pin Output Level */
  HAL_GPIO_WritePin(MAG_CS_GPIO_Port, MAG_CS_Pin, GPIO_PIN_SET);

  /*Configure GPIO pin Output Level */
  HAL_GPIO_WritePin(GPIOE, IMU1_CS_Pin|IMU2_CS_Pin|IMU3_CS_Pin, GPIO_PIN_SET);

  /*Configure GPIO pin Output Level */
  HAL_GPIO_WritePin(GPIOB, MPU_R_Pin|MPU_G_Pin|MPU_B_Pin|SPU_SELECT_Pin, GPIO_PIN_RESET);

  /*Configure GPIO pin Output Level */
  HAL_GPIO_WritePin(GPIOD, MPU_CAN_S_Pin|ICP_INT_Pin, GPIO_PIN_RESET);

  /*Configure GPIO pin Output Level */
  HAL_GPIO_WritePin(GPIOD, BMP_CS_Pin|ICP_CS_Pin, GPIO_PIN_SET);

  /*Configure GPIO pin : TPU_SELECT_Pin */
  GPIO_InitStruct.Pin = TPU_SELECT_Pin;
  GPIO_InitStruct.Mode = GPIO_MODE_OUTPUT_PP;
  GPIO_InitStruct.Pull = GPIO_NOPULL;
  GPIO_InitStruct.Speed = GPIO_SPEED_FREQ_LOW;
  HAL_GPIO_Init(TPU_SELECT_GPIO_Port, &GPIO_InitStruct);

  /*Configure GPIO pins : MAG_CS_Pin MPU_R_Pin MPU_G_Pin MPU_B_Pin
                           SPU_SELECT_Pin */
  GPIO_InitStruct.Pin = MAG_CS_Pin|MPU_R_Pin|MPU_G_Pin|MPU_B_Pin
                          |SPU_SELECT_Pin;
  GPIO_InitStruct.Mode = GPIO_MODE_OUTPUT_PP;
  GPIO_InitStruct.Pull = GPIO_NOPULL;
  GPIO_InitStruct.Speed = GPIO_SPEED_FREQ_LOW;
  HAL_GPIO_Init(GPIOB, &GPIO_InitStruct);

  /*Configure GPIO pins : IMU1_INT_Pin IMU2_INT_Pin IMU3_INT_Pin */
  GPIO_InitStruct.Pin = IMU1_INT_Pin|IMU2_INT_Pin|IMU3_INT_Pin;
  GPIO_InitStruct.Mode = GPIO_MODE_IT_RISING;
  GPIO_InitStruct.Pull = GPIO_NOPULL;
  HAL_GPIO_Init(GPIOE, &GPIO_InitStruct);

  /*Configure GPIO pins : IMU1_CS_Pin IMU2_CS_Pin IMU3_CS_Pin */
  GPIO_InitStruct.Pin = IMU1_CS_Pin|IMU2_CS_Pin|IMU3_CS_Pin;
  GPIO_InitStruct.Mode = GPIO_MODE_OUTPUT_PP;
  GPIO_InitStruct.Pull = GPIO_NOPULL;
  GPIO_InitStruct.Speed = GPIO_SPEED_FREQ_LOW;
  HAL_GPIO_Init(GPIOE, &GPIO_InitStruct);

  /*Configure GPIO pins : MPU_CAN_S_Pin BMP_CS_Pin ICP_CS_Pin ICP_INT_Pin */
  GPIO_InitStruct.Pin = MPU_CAN_S_Pin|BMP_CS_Pin|ICP_CS_Pin|ICP_INT_Pin;
  GPIO_InitStruct.Mode = GPIO_MODE_OUTPUT_PP;
  GPIO_InitStruct.Pull = GPIO_NOPULL;
  GPIO_InitStruct.Speed = GPIO_SPEED_FREQ_LOW;
  HAL_GPIO_Init(GPIOD, &GPIO_InitStruct);

  /*Configure GPIO pin : BMP_INT_Pin */
  GPIO_InitStruct.Pin = BMP_INT_Pin;
  GPIO_InitStruct.Mode = GPIO_MODE_IT_RISING;
  GPIO_InitStruct.Pull = GPIO_NOPULL;
  HAL_GPIO_Init(BMP_INT_GPIO_Port, &GPIO_InitStruct);

  /* USER CODE BEGIN MX_GPIO_Init_2 */

  /* Enable NVIC interrupt for EXTI15_10 (handles IMU1_INT on PE10, IMU2_INT on PE12, IMU3_INT on PE14) */
  /* IMU INT1 lines are not configured on the sensors and the filter polls the IMUs, so the
   * EXTI15_10 interrupt stays disabled: a floating INT line would otherwise fire it continuously. */

  /* USER CODE END MX_GPIO_Init_2 */
}

/* USER CODE BEGIN 4 */
/* --- crash recorder: fault handlers (it.c) branch here with the exception frame; Error_Handler() records too.
 * The record sits next to the DFU magic word in RAM that the startup code never touches, survives the
 * reset and is printed by the next boot. */
void Athena_FaultSave(uint32_t *sp)
{
  volatile uint32_t *r = (volatile uint32_t *)(DFU_MAGIC_ADDR + 0x10);
  r[1] = sp[6]; r[2] = sp[5]; r[3] = SCB->CFSR; r[4] = SCB->HFSR; r[5] = SCB->BFAR; r[0] = 0x46415554UL;   /* "FAUT" */
  __DSB();
  NVIC_SystemReset();
}
/* --- software entry into the ST ROM bootloader (USB DFU), two ways ---------------------------
 * 'B': leave a magic word in RAM and reset; main() checks it first thing and jumps (needs the
 *      SRAM word to survive the reset).
 * 'J': jump from here without a reset: tear USB, clocks, NVIC, caches and MPU down to their
 *      reset state and enter system memory with interrupts enabled (the ROM uses the USB IRQ). */
extern USBD_HandleTypeDef hUsbDeviceFS;
static volatile uint8_t dfu_request;
void Athena_DfuRequest(uint8_t c) { dfu_request = c; }

static void Athena_ResetToDfu(void)
{
  USBD_DeInit(&hUsbDeviceFS);                                   /* host sees a disconnect (>= 30 ms) before the reset */
  HAL_Delay(100);
  DFU_BKP_ENABLE();
  DFU_BKP_REG = DFU_MAGIC;                                      /* backup register: immune to whatever happens to SRAM */
  *(volatile uint32_t *)DFU_MAGIC_ADDR = DFU_MAGIC;             /* AXI SRAM, untouched by the startup code (all sections live in DTCM); D-cache is off */
  __DSB();
  NVIC_SystemReset();
}

static void Athena_JumpToBootloader(void)
{
  USBD_DeInit(&hUsbDeviceFS);                                   /* host sees a disconnect */
  HAL_Delay(100);
  __disable_irq();
  HAL_RCC_DeInit();
  HAL_DeInit();
  SysTick->CTRL = 0; SysTick->LOAD = 0; SysTick->VAL = 0;
  for (unsigned i = 0; i < sizeof(NVIC->ICER) / sizeof(NVIC->ICER[0]); i++) { NVIC->ICER[i] = 0xFFFFFFFFu; NVIC->ICPR[i] = 0xFFFFFFFFu; }
#if defined(__CORTEX_M) && (__CORTEX_M == 7U)
  SCB_DisableICache();
  SCB_DisableDCache();
#endif
  HAL_MPU_Disable();
  SCB->VTOR = DFU_SYSMEM_ADDR;
  __set_MSP(*(volatile uint32_t *)DFU_SYSMEM_ADDR);
  __enable_irq();
  ((void (*)(void))(*(volatile uint32_t *)(DFU_SYSMEM_ADDR + 4)))();
  for (;;) {}
}

static void Athena_DfuPoll(void)                                /* main loop */
{
  uint8_t c = dfu_request;
  if (!c) return;
  dfu_request = 0;
  if (c == 'J') Athena_JumpToBootloader();
  else Athena_ResetToDfu();
}

static void on_tpu_packet(uint8_t type, const uint8_t *payload, uint8_t len, void *user)
{
  (void)user;
  if (type == LINK_PKT_GPS && len == sizeof(Athena_GpsFix)) {
    memcpy(&last_gps, payload, sizeof last_gps);
    gps_count++;
    Fusion_Gps(&fusion, &last_gps, GetTimestamp());
  } else if (type == LINK_PKT_CMD && len == sizeof(Athena_Cmd)) {
    forward_cmd(payload, len, "tpu");                   // uplink / TPU console -> SPU
  }
}

/* commands pass through unchanged (re-framed) to the SPU, which owns the safety checks */
static void forward_cmd(const uint8_t *payload, uint8_t len, const char *src)
{
  cmd_count++;
  fwd_spu_len = (uint8_t)Link_Encode(fwd_spu_pending, LINK_PKT_CMD, payload, len);
  print("cmd from %s: %u -> SPU\r\n", src, payload[0]);
}

static void on_spu_packet(uint8_t type, const uint8_t *payload, uint8_t len, void *user)
{
  (void)user;
  if (type == LINK_PKT_SPU && len == sizeof(Athena_SpuStatus)) {
    memcpy(&spu, payload, sizeof spu);
    spu_ms = HAL_GetTick(); spu_count++;
    if (spu.phase == SPU_PHASE_LANDED) FLIGHT_REC->magic = 0;   // flight over: a later reset must start on the pad again
    size_t n = Link_Encode(spu_usb_frame, LINK_PKT_SPU, payload, len);
    CDC_Transmit_FS(spu_usb_frame, (uint16_t)n);        // USB dashboard on the MPU port
    memcpy(fwd_tpu_pending, spu_usb_frame, n); fwd_tpu_len = (uint8_t)n;   // and on to the TPU: log + radio
  }
}

static void on_usb_packet(uint8_t type, const uint8_t *payload, uint8_t len, void *user)
{
  (void)user;
  if (type == LINK_PKT_CMD && len == sizeof(Athena_Cmd)) forward_cmd(payload, len, "usb");
}

static void on_usb_text(uint8_t b, void *user)
{
  (void)user;
  if (b == 'B' || b == 'J') Athena_DfuRequest(b);
  else if (b == 'L') { leds_off = !leds_off; if (leds_off) Set_LED_Color(LED_OFF); print("leds %s\r\n", leds_off ? "off" : "on"); }
}

void Athena_UsbRx(const uint8_t *buf, uint32_t len)      /* USB CDC receive interrupt */
{
  for (uint32_t i = 0; i < len; i++) Link_RxPush(&usb_link, buf[i]);
}

void HAL_UART_RxCpltCallback(UART_HandleTypeDef *huart)
{
  if (huart->Instance == UART4) {
    Link_RxPush(&tpu_link, uart4_rx_byte);
    HAL_UART_Receive_IT(&huart4, &uart4_rx_byte, 1);
  } else if (huart->Instance == UART8) {
    Link_RxPush(&spu_link, uart8_rx_byte);
    HAL_UART_Receive_IT(&huart8, &uart8_rx_byte, 1);
  }
}

void HAL_UART_ErrorCallback(UART_HandleTypeDef *huart)
{
  __HAL_UART_CLEAR_FLAG(huart, UART_CLEAR_OREF | UART_CLEAR_FEF | UART_CLEAR_NEF);   // an overrun aborts IT reception: re-arm it
  if (huart->Instance == UART4) HAL_UART_Receive_IT(&huart4, &uart4_rx_byte, 1);
  else if (huart->Instance == UART8) HAL_UART_Receive_IT(&huart8, &uart8_rx_byte, 1);
}
/* USER CODE END 4 */

 /* MPU Configuration */

void MPU_Config(void)
{
  MPU_Region_InitTypeDef MPU_InitStruct = {0};

  /* Disables the MPU */
  HAL_MPU_Disable();

  /** Initializes and configures the Region and the memory to be protected
  */
  MPU_InitStruct.Enable = MPU_REGION_ENABLE;
  MPU_InitStruct.Number = MPU_REGION_NUMBER0;
  MPU_InitStruct.BaseAddress = 0x0;
  MPU_InitStruct.Size = MPU_REGION_SIZE_4GB;
  MPU_InitStruct.SubRegionDisable = 0x87;
  MPU_InitStruct.TypeExtField = MPU_TEX_LEVEL0;
  MPU_InitStruct.AccessPermission = MPU_REGION_NO_ACCESS;
  MPU_InitStruct.DisableExec = MPU_INSTRUCTION_ACCESS_DISABLE;
  MPU_InitStruct.IsShareable = MPU_ACCESS_SHAREABLE;
  MPU_InitStruct.IsCacheable = MPU_ACCESS_NOT_CACHEABLE;
  MPU_InitStruct.IsBufferable = MPU_ACCESS_NOT_BUFFERABLE;

  HAL_MPU_ConfigRegion(&MPU_InitStruct);
  /* Enables the MPU */
  HAL_MPU_Enable(MPU_PRIVILEGED_DEFAULT);

}

void Error_Handler(void)
{
  /* USER CODE BEGIN Error_Handler_Debug */
  { volatile uint32_t *r = (volatile uint32_t *)(DFU_MAGIC_ADDR + 0x10);       /* who called us: printed after the reset */
    r[1] = (uint32_t)__builtin_return_address(0); r[2] = 0; r[3] = r[4] = r[5] = 0; r[0] = 0x4552524FUL;   /* "ERRO" */
    __DSB();
    NVIC_SystemReset(); }
  /* User can add his own implementation to report the HAL error return state */
  __disable_irq();
  while (1)
  {
  }
  /* USER CODE END Error_Handler_Debug */
}
